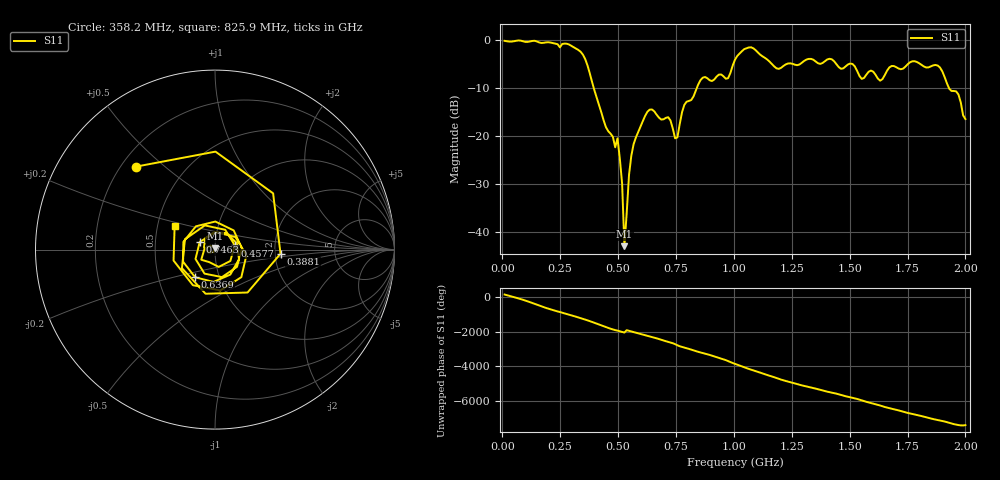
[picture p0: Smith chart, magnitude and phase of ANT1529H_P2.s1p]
!Created with skrf (http://scikit-rf.org).
# Hz S RI R 50.0
!freq ReS11 ImS11
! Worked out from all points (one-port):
!   201 points, 10 MHz to 2 GHz, reference 50 ohm
!   lowest |S11| = -42.9 dB at 527.4 MHz (marker M1), VSWR 1.01, Z = 49.8 + j0.688 ohm
!   |S11| at or under -10 dB: 395.4 MHz to 839.5 MHz (444.1 MHz wide, 71.9 % of centre); 1.93 GHz to end of sweep
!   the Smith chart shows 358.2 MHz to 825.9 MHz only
!   S11 on the Smith chart (normalised r, x): 358.2 MHz: 0.26, +0.41; 388.1 MHz: 2.15, -0.11; 457.8 MHz: 1.25, +0.06; 636.9 MHz: 0.77, -0.24; 746.3 MHz: 0.84, +0.07; 825.9 MHz: 0.61, +0.17
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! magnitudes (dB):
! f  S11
! 10 MHz  -0.1
! 258.8 MHz  -0.7
! 358.2 MHz  -3.9
! 388.1 MHz  -8.7
! 457.8 MHz  -19.0
! 497.6 MHz  -20.4
! 507.5 MHz  -24.6
! 517.5 MHz  -29.9
! 527.4 MHz  -42.9
! 547.3 MHz  -28.1
! 557.2 MHz  -24.1
! 636.9 MHz  -14.4
! 716.5 MHz  -16.0
! 746.3 MHz  -20.4
! 756.2 MHz  -20.2
! 786.1 MHz  -13.5
! 825.9 MHz  -11.7
! 865.7 MHz  -7.8
! 975.1 MHz  -7.9
! 1.005 GHz  -4.0
! 1.075 GHz  -1.4
! 1.184 GHz  -5.8
! 1.254 GHz  -4.9
! 1.502 GHz  -4.8
! 1.632 GHz  -8.4
! 1.751 GHz  -5.0
! 1.891 GHz  -5.7
! 2 GHz  -16.4
